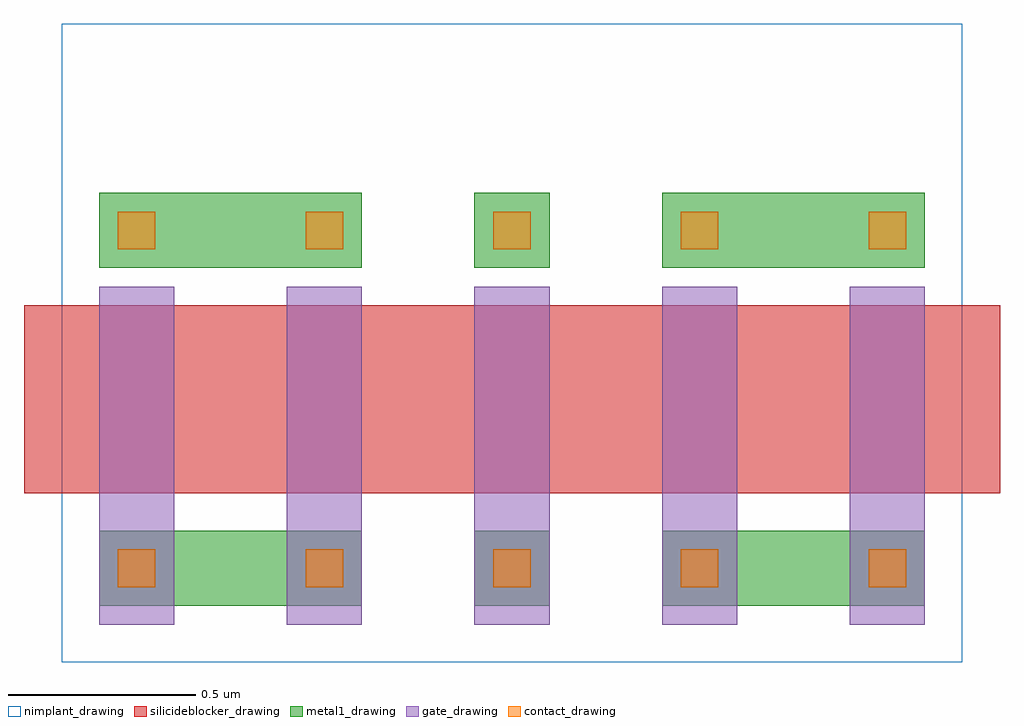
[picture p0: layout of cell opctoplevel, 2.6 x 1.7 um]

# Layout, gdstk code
import gdstk
lib = gdstk.Library(unit=1e-6, precision=1e-09)
def R(c, l, rs):  # rectangles x0, y0, x1, y1
    for r in rs: c.add(gdstk.rectangle(r[:2], r[2:], *l))
def A(c, l, x, y, w, h, nx, ny, dx, dy):  # array of equal rectangles
    R(c, l, [(x+i*dx, y+j*dy, x+i*dx+w, y+j*dy+h) for i in range(nx) for j in range(ny)])
nimplant_drawing = (5, 0)
gate_drawing = (6, 0)
contact_drawing = (7, 0)
metal1_drawing = (8, 0)
silicideblocker_drawing = (28, 0)

opctoplevel = lib.new_cell('opctoplevel')
R(opctoplevel, nimplant_drawing, [(-0.1,-0.1,2.3,1.6)])
A(opctoplevel, gate_drawing, 0, 0, 0.2, 0.9, 5, 1, 0.5, 0)
A(opctoplevel, contact_drawing, 0.05, 0.1, 0.1, 0.1, 5, 2, 0.5, 0.9)
A(opctoplevel, metal1_drawing, 0, 0.05, 0.2, 0.2, 3, 2, 0.5, 0.9)
A(opctoplevel, metal1_drawing, 1, 0.05, 0.2, 0.2, 3, 2, 0.5, 0.9)
R(opctoplevel, metal1_drawing, [(0,0.05,0.7,0.25), (1.5,0.05,2.2,0.25), (0,0.95,0.7,1.15), (1.5,0.95,2.2,1.15)])
R(opctoplevel, silicideblocker_drawing, [(-0.2,0.35,2.4,0.85)])

lib.write_gds('opctoplevel.gds')
